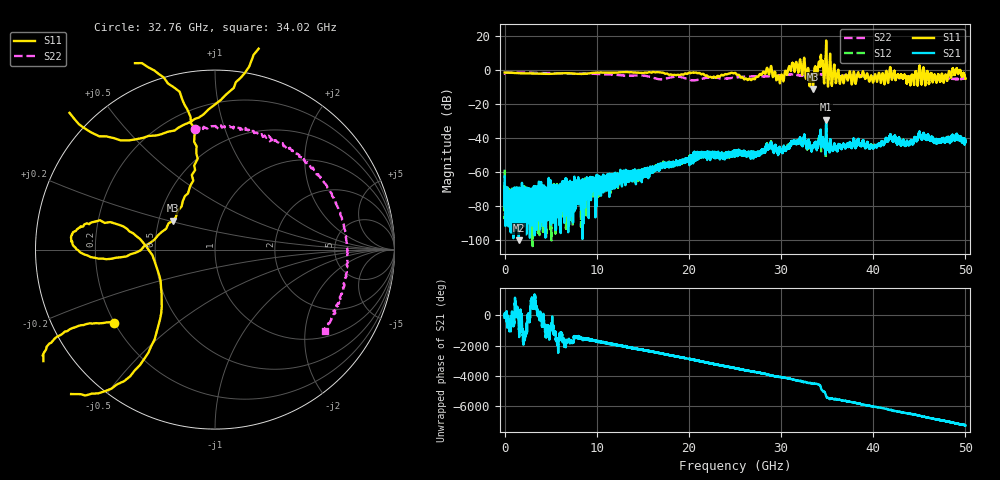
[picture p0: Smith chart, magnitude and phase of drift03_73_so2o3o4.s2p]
!Created with skrf (http://scikit-rf.org).
# Hz S RI R 50.0
!freq ReS11 ImS11 ReS21 ImS21 ReS12 ImS12 ReS22 ImS22
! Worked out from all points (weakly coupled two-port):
!   10001 points, 300 kHz to 50 GHz, reference 50 ohm
!   highest |S21| = -28.99 dB at 34.89 GHz (marker M1); lowest = -100.1 dB at 1.545 GHz (marker M2)
!   lowest |S11| = -11.0 dB at 33.47 GHz (marker M3), VSWR 1.79, Z = 29.8 + j10.5 ohm
!   |S11| at or under -10 dB: 33.4494 GHz to 33.48319 GHz (33.79 MHz wide, 0.101 % of centre)
!   |S22| runs from -5.9 to -1.3 dB; largest |S21 - S12| = 0.0094
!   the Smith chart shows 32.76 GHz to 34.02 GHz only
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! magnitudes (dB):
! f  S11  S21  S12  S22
! 300 kHz  -1.3  -62.5  -58.5  -2.0
! 255.3 MHz  -1.3  -76.6  -76.1  -1.4
! 1.545 GHz  -1.7  -100.1  -81.0  -1.4
! 4.495 GHz  -2.1  -77.7  -75.3  -1.6
! 8.335 GHz  -2.2  -71.4  -68.1  -1.9
! 16.67 GHz  -1.1  -55.5  -55.7  -5.2
! 25 GHz  -1.5  -47.8  -48.3  -4.3
! 26.92 GHz  -4.9  -49.3  -47.7  -3.5
! 28.72 GHz  -2.3  -46.1  -45.7  -3.6
! 30.06 GHz  -2.5  -47.6  -47.6  -2.8
! 31.87 GHz  -1.4  -42.2  -41.7  -2.9
! 33.34 GHz  -2.2  -47.6  -46.7  -2.9
! 33.47 GHz  -11.0  -44.4  -44.7  -2.8
! 34.29 GHz  6.0  -35.2  -35.6  -2.3
! 34.89 GHz  17.6  -29.0  -31.6  -2.4
! 36.58 GHz  -3.4  -45.9  -46.3  -3.6
! 40.16 GHz  -2.6  -44.7  -43.7  -3.7
! 41.67 GHz  -5.5  -40.2  -40.2  -3.7
! 43.84 GHz  -3.6  -43.4  -44.1  -3.8
! 45.21 GHz  -7.5  -40.3  -39.3  -4.5
! 49.21 GHz  -2.1  -38.7  -39.7  -5.2
! 50 GHz  -4.9  -42.0  -42.5  -5.0
